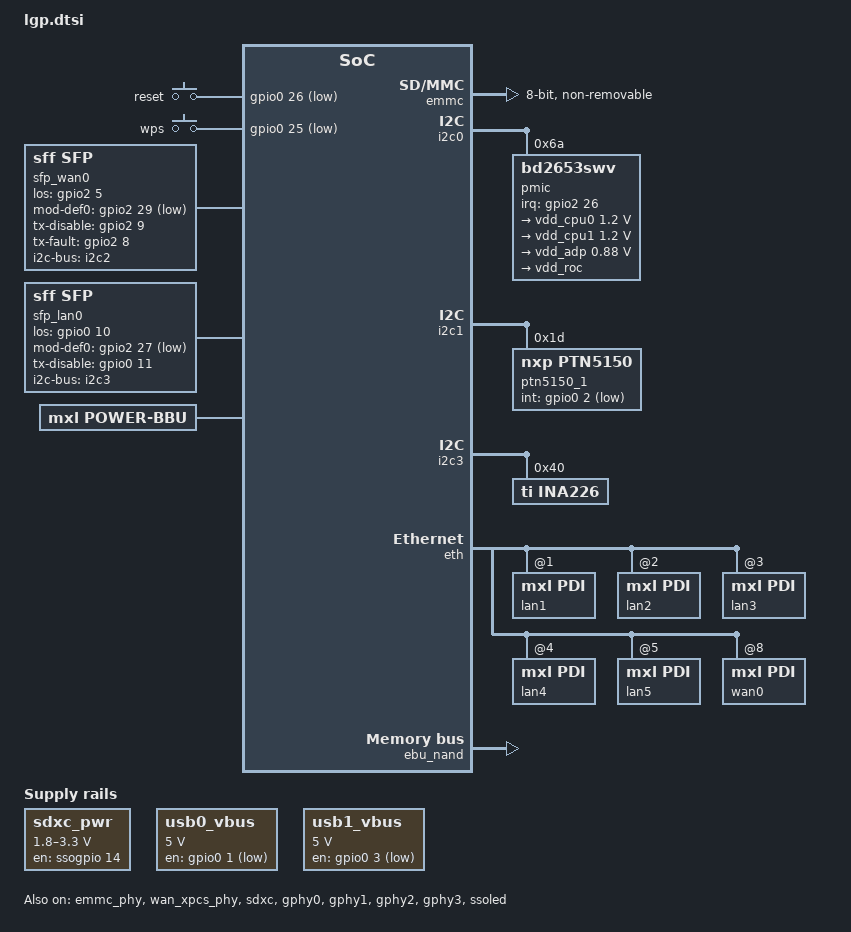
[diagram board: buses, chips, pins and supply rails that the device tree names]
// SPDX-License-Identifier: GPL-2.0
/*
 * Copyright (C) 2020-2022 MaxLinear, Inc.
 * Copyright (C) 2019-2020 Intel Corporation.
 *
 * This program is free software; you can redistribute it and/or modify it
 * under the terms of the GNU General Public License, as published by the Free
 * Software Foundation; either version 2 of the License, or (at your option)
 * any later version.
 *
 * This program is distributed in the hope that it will be useful, but WITHOUT
 * ANY WARRANTY; without even the implied warranty of MERCHANTABILITY or
 * FITNESS FOR A PARTICULAR PURPOSE.
 * See the GNU General Public License for more details.
 *
 * You should have received a copy of the GNU General Public License along
 * with this program; if not, see <http://www.gnu.org/licenses/>.
 */

#include <dt-bindings/gpio/gpio.h>
#include <dt-bindings/interrupt-controller/irq.h>
#include <dt-bindings/input/input.h>

#include "lightning_mountain.dtsi"
#include "firewall_domain.dtsi"
#include "noc_firewall.dtsi"

/******************************************************************************
** Board configuration: Enable buttons on the board.
******************************************************************************/
/ {
	gpio-keys-polled {
		compatible = "gpio-keys-polled";
		#address-cells = <1>;
		#size-cells = <0>;
		poll-interval = <100>;

		reset {
			label = "reset";
			gpios = <&gpio0 26 1>;
			linux,code = <KEY_RESTART>;
		};
		wps {
			label = "wps";
			gpios = <&gpio0 25 1>;
			linux,code = <KEY_WPS_BUTTON>;
		};
	};
};

/* EMMC setting */
&emmc {
	status = "okay";
	bus-width = <8>;
	non-removable;
	no-mmc-hs400;
};

&emmc_phy {
	status = "okay";
};

&wan_xpcs_phy {
	status = "okay";
};

/ {
	sdxc_pwr: regulator-gpio {
		compatible = "regulator-gpio";

		regulator-min-microvolt = <1800000>;
		regulator-max-microvolt = <3300000>;
		regulator-name = "BD2204GUL";
		regulator-type = "voltage";

		/* SD_PWR_EN */
		enable-gpio = <&ssogpio 14 GPIO_ACTIVE_HIGH>;
		enable-active-high;

		/* SD_PWR_SEL */
		gpios = <&gpio2 18 GPIO_ACTIVE_HIGH>;
		states = <3300000 0x0
			  1800000 0x1>;
	};
};

&sdxc {
	status = "okay";
	pinctrl-names = "default";
	pinctrl-0 = <&pinctrl_sdio &pinctrl_sdio_wp_gpio>;
	cd-gpios = <&gpio2 16 GPIO_ACTIVE_LOW>;
	bus-width = <4>;
	vqmmc-supply = <&sdxc_pwr>;

	/* 208MHz requires rework of termination resistors.
	 * Since this is not yet available in default boards,
	 * we limit freq to 104MHz.
	 */
	max-frequency = <104000000>;
};

&gphy0 {
	status = "okay";
};

&gphy1 {
	status = "okay";
};

&gphy2 {
	status = "okay";
};

&gphy3 {
	status = "okay";
};

/******************************************************************************
 ** Board configuration: XPCS SERDES Parameters
 ******************************************************************************/
&wan_xpcs {
	rx_attn_lvl = <0 0 0 0 0 0 0 0>;
	rx_ctle_boost = <18 18 18 16 16 16 16 16>;
	rx_ctle_pole = <0 0 0 2 2 2 2 2>;
	rx_vga1_gain = <4 4 4 5 5 5 5 5>;
	rx_vga2_gain = <4 4 4 5 5 5 5 5>;
	rx_dfe_bypass = <1 1 1 0 0 0 0 0>;
	cont_adapt_en = <0 0 0 1 1 1 1 1>;
	rx_cali = <0 0 0 0 0 0 0 0>;
	tx_vboost_en = <1 1 1 1 1 1 1 1>;
	tx_vboost_lvl = <5 5 5 5 5 5 5 5>;
	tx_iboost_lvl = <15 15 15 15 15 15 15 15>;
	tx_eq_main = <16 16 19 28 28 28 28 28>;
	tx_eq_pre = <4 4 4 16 16 16 16 16>;
	tx_eq_post = <4 4 4 32 32 32 32 32>;
	tx_eq_ovrride = <1 1 1 1 1 1 1 1>;
};

&lan_xpcs {
	rx_attn_lvl = <0 0 0 7 7 7 7 7>;
	rx_ctle_boost = <18 18 18 0 0 0 0 0>;
	rx_ctle_pole = <0 0 0 2 2 2 2 2>;
	rx_vga1_gain = <4 4 4 5 5 5 5 5>;
	rx_vga2_gain = <4 4 4 5 5 5 5 5>;
	rx_dfe_bypass = <1 1 1 1 1 1 1 1>;
	cont_adapt_en = <0 0 0 1 1 1 1 1>;
	rx_cali = <0 0 0 0 0 0 0 0>;
	tx_vboost_en = <1 1 1 1 1 1 1 1>;
	tx_vboost_lvl = <5 5 5 5 5 5 5 5>;
	tx_iboost_lvl = <15 15 15 15 15 15 15 15>;
	tx_eq_main = <16 16 19 40 40 40 40 40>;
	tx_eq_pre = <4 4 4 0 0 0 0 0>;
	tx_eq_post = <4 4 4 0 0 0 0 0>;
	tx_eq_ovrride = <1 1 1 1 1 1 1 1>;
};

&hsior_xpcs0 {
	rx_attn_lvl = <0 0 0 0 0 0 0 0>;
	rx_ctle_boost = <18 18 18 16 16 16 16 16>;
	rx_ctle_pole = <0 0 0 2 2 2 2 2>;
	rx_vga1_gain = <4 4 4 5 5 5 5 5>;
	rx_vga2_gain = <4 4 4 5 5 5 5 5>;
	rx_dfe_bypass = <1 1 1 0 0 0 0 0>;
	cont_adapt_en = <0 0 0 1 1 1 1 1>;
	rx_cali = <1 1 1 1 1 1 1 1>;
	tx_vboost_en = <1 1 1 1 1 1 1 1>;
	tx_vboost_lvl = <5 5 5 5 5 5 5 5>;
	tx_iboost_lvl = <15 15 15 15 15 15 15 15>;
	tx_eq_main = <16 16 19 28 28 28 28 28>;
	tx_eq_pre = <4 4 4 16 16 16 16 16>;
	tx_eq_post = <4 4 4 32 32 32 32 32>;
	tx_eq_ovrride = <1 1 1 1 1 1 1 1>;
};

&hsior_xpcs1 {
	rx_attn_lvl = <0 0 0 0 0 0 0 0>;
	rx_ctle_boost = <18 18 18 16 16 16 16 16>;
	rx_ctle_pole = <0 0 0 2 2 2 2 2>;
	rx_vga1_gain = <4 4 4 5 5 5 5 5>;
	rx_vga2_gain = <4 4 4 5 5 5 5 5>;
	rx_dfe_bypass = <1 1 1 0 0 0 0 0>;
	cont_adapt_en = <0 0 0 1 1 1 1 1>;
	rx_cali = <1 1 1 1 1 1 1 1>;
	tx_vboost_en = <1 1 1 1 1 1 1 1>;
	tx_vboost_lvl = <5 5 5 5 5 5 5 5>;
	tx_iboost_lvl = <15 15 15 15 15 15 15 15>;
	tx_eq_main = <16 16 19 28 28 28 28 28>;
	tx_eq_pre = <4 4 4 16 16 16 16 16>;
	tx_eq_post = <4 4 4 32 32 32 32 32>;
	tx_eq_ovrride = <1 1 1 1 1 1 1 1>;
};

/* PCIe */
&pcie10 { /* WIFI */
	status = "disabled";
	reset-assert-ms = <200>;
	reset-gpios = <&ssogpio 8 GPIO_ACTIVE_LOW>;
	num-lanes = <1>;
};

&pcie11 { /* M2_KeyB */
	status = "disabled";
	reset-assert-ms = <200>;
	reset-gpios = <&ssogpio 3 GPIO_ACTIVE_LOW>;
	num-lanes = <1>;
};

&pcie30 { /* WIFI */
	status = "disabled";
	reset-assert-ms = <200>;
	reset-gpios = <&ssogpio 9 GPIO_ACTIVE_LOW>;
	num-lanes = <1>;
};

&pcie31 { /* DSL */
	status = "disabled";
	reset-assert-ms = <200>;
	reset-gpios = <&ssogpio 4 GPIO_ACTIVE_HIGH>;
	num-lanes = <1>;
};

&pcie40 { /* M2_KeyM */
	status = "disabled";
	reset-assert-ms = <200>;
	reset-gpios = <&ssogpio 15 GPIO_ACTIVE_LOW>;
	num-lanes = <1>;
};

&pcie41 { /* wifi */
	status = "disabled";
	reset-assert-ms = <200>;
	reset-gpios = <&ssogpio 10 GPIO_ACTIVE_LOW>;
	num-lanes = <1>;
};

/ {
	aliases {
		eth0_1 = &lan1;
		eth0_2 = &lan2;
		eth0_3 = &lan3;
		eth0_4 = &lan4;
		eth0_5 = &lan5;
	};
	usb0_vbus:regulator-vbus@0 {
		compatible = "regulator-fixed";
		regulator-name = "usb0_vbus";
		regulator-min-microvolt = <5000000>;
		regulator-max-microvolt = <5000000>;
		gpio = <&gpio0 1 1>;
		enable-active-low;
	};

	usb1_vbus:regulator-vbus@1 {
		compatible = "regulator-fixed";
		regulator-name = "usb1_vbus";
		regulator-min-microvolt = <5000000>;
		regulator-max-microvolt = <5000000>;
		gpio = <&gpio0 3 1>;
		enable-active-low;
	};
};

&i2c0 {
	pmic: pmic@6a {
		compatible = "bd2653swv";
		pinctrl-names = "default";
		pinctrl-0 = <&pinctrl_pmic_function>;
		reg = <0x6a>;
		interrupt-parent = <&gpio2>;
		interrupts = <26 IRQ_TYPE_LEVEL_HIGH>;

		vdd_cpu0: BUCK0 {
			regulator-compatible = "buck0";
			regulator-name = "cpu0";
			regulator-min-microvolt = <0>;
			regulator-max-microvolt = <1200000>;
		};

		vdd_cpu1: BUCK1 {
			regulator-compatible = "buck1";
			regulator-name = "cpu1";
			regulator-min-microvolt = <0>;
			regulator-max-microvolt = <1200000>;
		};

		vdd_adp: BUCK2 {
			regulator-compatible = "buck2";
			regulator-name = "adp";
			regulator-min-microvolt = <0>;
			regulator-max-microvolt = <880000>;
		};

		vdd_roc: BUCK3 {
			regulator-compatible = "buck3";
			regulator-name = "roc";
		};
	};
};

&i2c1 {
	ptn5150_1: ptn5150@1d {
		compatible = "nxp,ptn5150";
		reg = <0x1d>;
		int-gpio = <&gpio0 2 GPIO_ACTIVE_LOW>;
		status = "okay";
	};
};

&i2c3 {
	ina226@40 {
		compatible = "ti,ina226";
		reg = <0x40>;
		shunt-resistor = <10000>;
		rail-name = "PWR_12V";
	};
};

&pvt {
   rising-alarm = <85000>;
   rising-hsyt = <84500>;
   falling-alarm = <84500>;
   falling-hsyt = <85000>;
};

&epu {
	vdd-cpu0-supply = <&vdd_cpu0>;
	vdd-cpu1-supply = <&vdd_cpu1>;
	vdd-adp-supply = <&vdd_adp>;
};

/******************************************************************************
 ** Board configuration: Configure LAN/WAN interfaces
 ******************************************************************************/
/ {
	sfp_wan0: sfp-wan0 {
		compatible = "sff,sfp";
		i2c-bus = <&i2c2>;
		los-gpios = <&gpio2 5 GPIO_ACTIVE_HIGH>;
		mod-def0-gpios = <&gpio2 29 GPIO_ACTIVE_LOW>;
		maximum-power-milliwatt = <3000>;
		tx-disable-gpios = <&gpio2 9 GPIO_ACTIVE_HIGH>;
		tx-fault-gpios = <&gpio2 8 GPIO_ACTIVE_HIGH>;
	};

	sfp_lan0: sfp-lan0 {
		compatible = "sff,sfp";
		i2c-bus = <&i2c3>;
		los-gpios = <&gpio0 10 GPIO_ACTIVE_HIGH>;
		mod-def0-gpios = <&gpio2 27 GPIO_ACTIVE_LOW>;
		maximum-power-milliwatt = <3000>;
		tx-disable-gpios = <&gpio0 11 GPIO_ACTIVE_HIGH>;
		/* tx-fault-gpios = <missing TX_FAULT connection of LAN SFP cage>; */
	};
};

&eth {
	status = "okay";

	lan1: interface@1 {
		#address-cells = <1>;
		#size-cells = <0>;
		compatible = "mxl,pdi";
		mxl,dp-dev-port = <4>;
		mxl,dp-port-id = <4>;
		mxl,dp-port-10g;
		mxl,xgmac-id = <4>;
		mac = <&gsw_mac2>;
		phy-mode = "10gbase-kr";
		lan1_eth: ethernet@1 {
			compatible = "mxl,pdi-port";
			reg = <1>;
			phy-mode = "rgmii";
		};
	};

	lan2: interface@2 {
		#address-cells = <1>;
		#size-cells = <0>;
		compatible = "mxl,pdi";
		mxl,dp-dev-port = <5>;
		mxl,dp-port-id = <5>;
		mxl,xgmac-id = <5>;
		mac = <&gsw_mac3>;
		p34x-xpcs-node = <&lan_xpcs>;
		managed = "in-band-status";
		phy = <&gphy0>;
		phy-mode = "sgmii";
		lan2_eth: ethernet@2 {
			compatible = "mxl,pdi-port";
			reg = <2>;
			phy-mode = "rgmii";
			phy-handle = <&gphy0>;
		};
	};

	lan3: interface@3 {
		#address-cells = <1>;
		#size-cells = <0>;
		compatible = "mxl,pdi";
		mxl,dp-dev-port = <6>;
		mxl,dp-port-id = <6>;
		mxl,xgmac-id = <6>;
		mac = <&gsw_mac4>;
		p34x-xpcs-node = <&lan_xpcs>;
		managed = "in-band-status";
		phy = <&gphy1>;
		phy-mode = "sgmii";
		lan3_eth: ethernet@3 {
			compatible = "mxl,pdi-port";
			reg = <3>;
			phy-mode = "rgmii";
			phy-handle = <&gphy1>;
		};
	};

	lan4: interface@4 {
		#address-cells = <1>;
		#size-cells = <0>;
		compatible = "mxl,pdi";
		mxl,dp-dev-port = <7>;
		mxl,dp-port-id = <7>;
		mxl,xgmac-id = <7>;
		mac = <&gsw_mac5>;
		p34x-xpcs-node = <&lan_xpcs>;
		managed = "in-band-status";
		phy = <&gphy2>;
		phy-mode = "sgmii";
		lan4_eth: ethernet@4 {
			compatible = "mxl,pdi-port";
			reg = <4>;
			phy-mode = "rgmii";
			phy-handle = <&gphy2>;
		};
	};

	lan5: interface@5 {
		#address-cells = <1>;
		#size-cells = <0>;
		compatible = "mxl,pdi";
		mxl,dp-dev-port = <8>;
		mxl,dp-port-id = <8>;
		mxl,xgmac-id = <8>;
		mac = <&gsw_mac6>;
		p34x-xpcs-node = <&lan_xpcs>;
		managed = "in-band-status";
		phy = <&gphy3>;
		phy-mode = "sgmii";
		lan5_eth: ethernet@5 {
			compatible = "mxl,pdi-port";
			reg = <5>;
			phy-mode = "rgmii";
			phy-handle = <&gphy3>;
		};
	};

	wan0: interface@8 {
		#address-cells = <1>;
		#size-cells = <0>;
		compatible = "mxl,pdi";
		mxl,wan = <1>;
		mxl,dp-dev-port = <2>;
		mxl,dp-port-id = <2>;
		mxl,dp-port-10g;
		mxl,xgmac-id = <2>;
		mxl,pon_hgu_sim = <0>;
		mac = <&gsw_mac0>;
		phy-mode = "10gbase-kr";
		wan0_eth: ethernet@8 {
			compatible = "mxl,pdi-port";
			reg = <0>;
			phy-mode = "rgmii";
		};
	};
};

/******************************************************************************
 ** Board configuration: Configure DECT interfaces
 ******************************************************************************/
&ssc1 {
	status = "disabled";
	pinctrl-names = "default";
	pinctrl-0 = <&pinctrl_spi1>;
	dect@0 {
		compatible = "intel,dect_spi";
		spi-max-frequency = <4000000>;
		reg = <0>;
		interrupts = <25 IRQ_TYPE_EDGE_FALLING>;
		interrupt-parent = <&gpio2>;
		reset-gpios = <&ssogpio 13 GPIO_ACTIVE_HIGH>;
		intel,dect-cs = <&gpio0 14 GPIO_ACTIVE_LOW >;
		spi-cpol;
		spi-cpha;
	};
};

&cgu0 {
	cgussc {
		#address-cells = <1>;
		#size-cells = <0>;

		/* SSC in LJPLL4 for PCIe */
		cgussc1: cgussc@110 {
			reg = <0x110>;
			intel,ssc-enable = <1>;
			intel,ssc-spread = <5>;
			intel,ssc-dir = <1>; /* 0: center, 1: down */
			intel,ssc-divval = <10>;
		};
	};
};

&pinctrl {
	pinctrl_ledc0_rst: ledc0_rst {
		intel,pins = <9>;
		function = "ssoled0_rst";
		pinmux = <0>;
		groups = "ledc0_rst";
	};
};

&ssogpio {
	status = "okay";
	ngpios = <24>;
	reset-gpios = <&gpio0 9 GPIO_ACTIVE_HIGH>;
};

&ssoled {
	status = "okay";
	mxl,sso-def-brightness = <0>;
	mxl,sso-def-updatesrc = <1>; /* 0 - manual, 1 - gptc 2 - fpid */
	mxl,sso-def-blinkrate = <2>;

	led16: led16 { /* WAN */
		label = "led16:red:wan";
		led-gpios = <&ssogpio 16 0>;
		mxl,led-pin = <16>;
	};

	led17: led17 { /* WAN */
		label = "led17:green:wan";
		led-gpios = <&ssogpio 17 0>;
		mxl,led-pin = <17>;
	};

	led18: led18 { /* WAN */
		label = "led18:blue:wan";
		led-gpios = <&ssogpio 18 0>;
		mxl,led-pin = <18>;
	};

	led19: led19 { /* DECT */
		label = "led19:green:dect";
		led-gpios = <&ssogpio 19 0>;
		mxl,led-pin = <19>;
	};

	led20: led20 { /* LAN_SFP */
		label = "led20:green:lan_sfp";
		led-gpios = <&ssogpio 20 0>;
		mxl,led-pin = <20>;
	};

	led21: led21 { /* 2.4 G */
		label = "led21:green:2.4G";
		led-gpios = <&ssogpio 21 0>;
		mxl,led-pin = <21>;
	};

	led22: led22 { /* 5G LOW */
		label = "led22:green:5Glow";
		led-gpios = <&ssogpio 22 0>;
		mxl,led-pin = <22>;
	};

	led23: led23 { /* 5G HIGH */
		label = "led23:green:5Ghigh";
		led-gpios = <&ssogpio 23 0>;
		mxl,led-pin = <23>;
	};
};

&ebu_nand {
	status = "okay";
	nand,cs = <1>;
	nand-ecc-mode = "hw";
	nand-ecc-algo = "bch";
	nand-ecc-strength = <8>;
	pinctrl-names = "default";
	pinctrl-0 = <&pinctrl_ebu_nand_base &pinctrl_ebu_nand_cs1>;
};

&pinctrl_qspi {
		intel,slew-rate = <1>;
		intel,drive-current = <3>;
};

&qspi0 {
	status = "disabled";
	mxl-spinand@1 {
		#address-cells = <1>;
		#size-cells = <1>;
		compatible = "mxl,spinand";
		reg = <1 1>;
		linux,mtd-name = "nand.0";
		spi-max-frequency = <50000000>;
		page-size = <2048>;
		block-size = <17>; // 2^17, 128KB
		spi-tx-bus-width = <1>;
		spi-rx-bus-width = <1>;
		pinctrl-names = "default";
		pinctrl-0 = <&pinctrl_qspi &pinctrl_qspi_cs1 &pinctrl_qspi_rst1>;

		read-delay = <3>;
		tshsl-ns = <200>;
		tsd2d-ns = <255>;
		tchsh-ns = <20>;
		tslch-ns = <20>;

        partition@0 {
            reg = <0x0 0x80000>;
            label = "uboot";
            read-only;
        };

        partition@c0000 {
            reg = <0xc0000 0x500000>;
            label = "uboot_env";
        };

        partition@800000 {
            reg = <0x800000 0x800000>;
            label = "image0";
        };

        partition@1000000 {
            reg = <0x1000000 0x20000>;
            label = "image1";
        };
	};
};

/******************************************************************************
**  PCIE devices temperature sensor node definition
*******************************************************************************/
/ {
	wave_6_0: iwlwave@0 {
		compatible = "mxl,wave";
		wave-band = <2>;  /* 6GHz */
		/* type - 0/1,	param - param required for Cooling type
		 * type 0 for Duty Cycle, 1 for Antenna count
		 */
		max-cooling-state = <3>;
		cooling-states = <
			/* type param */
			1  3
			1  2
			1  1
		>;

		#thermal-sensor-cells = <0>;
		#cooling-cells = <2>;
	};

	wave_5_0: iwlwave@1 {
		compatible = "mxl,wave";
		wave-band = <0>;  /* 5GHz */
		/* type - 0/1,	param - param required for Cooling type
		 * type 0 for Duty Cycle, 1 for Antenna count
		 */
		max-cooling-state = <3>;
		cooling-states = <
			/* type param */
			1  3
			1  2
			1  1
		>;

		#thermal-sensor-cells = <0>;
		#cooling-cells = <2>;
	};

	wave_2_4: iwlwave@2 {
		compatible = "mxl,wave";
		wave-band = <1>;  /* 2.4GHz */
		/* type - 0/1,	param - param required for Cooling type
		 * type 0 for Duty Cycle, 1 for Antenna count
		 */
		max-cooling-state = <3>;
		cooling-states = <
			/* type param */
			1  3
			1  2
			1  1
		>;

		#thermal-sensor-cells = <0>;
		#cooling-cells = <2>;
	};
};

/ {
	bbu: battery_backup {
		compatible = "mxl,power-bbu";
		status = "okay";
	};
};

#include "lgm_pinctrl.dtsi"
